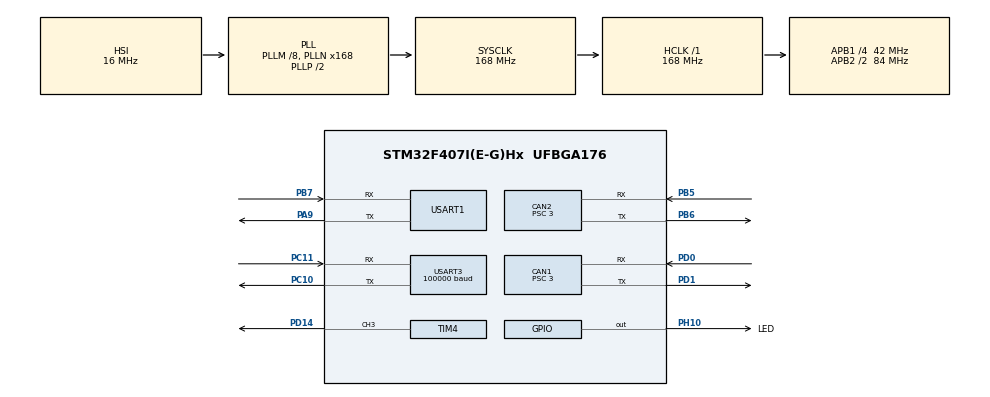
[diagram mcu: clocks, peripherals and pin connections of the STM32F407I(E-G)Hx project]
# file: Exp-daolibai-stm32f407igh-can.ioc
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CAN1.ABOM=ENABLE
CAN1.BS1=CAN_BS1_9TQ
CAN1.BS2=CAN_BS2_4TQ
CAN1.CalculateBaudRate=1000000
CAN1.CalculateTimeBit=1000
CAN1.CalculateTimeQuantum=71.42857142857143
CAN1.Prescaler=3
CAN2.ABOM=ENABLE
CAN2.BS1=CAN_BS1_9TQ
CAN2.BS2=CAN_BS2_4TQ
CAN2.CalculateBaudRate=1000000
CAN2.CalculateTimeBit=1000
CAN2.CalculateTimeQuantum=71.42857142857143
CAN2.Prescaler=3
Dma.Request0=USART3_RX
Dma.Request1=USART1_RX
Dma.Request2=USART1_TX
Dma.USART1_RX.1.Direction=DMA_PERIPH_TO_MEMORY
Dma.USART1_RX.1.FIFOMode=DMA_FIFOMODE_DISABLE
Dma.USART1_RX.1.Instance=DMA2_Stream2
Dma.USART1_RX.1.MemDataAlignment=DMA_MDATAALIGN_BYTE
Dma.USART1_RX.1.MemInc=DMA_MINC_ENABLE
Dma.USART1_RX.1.Mode=DMA_NORMAL
Dma.USART1_RX.1.PeriphDataAlignment=DMA_PDATAALIGN_BYTE
Dma.USART1_RX.1.PeriphInc=DMA_PINC_DISABLE
Dma.USART1_RX.1.Priority=DMA_PRIORITY_LOW
Dma.USART1_TX.2.Direction=DMA_MEMORY_TO_PERIPH
Dma.USART1_TX.2.FIFOMode=DMA_FIFOMODE_DISABLE
Dma.USART1_TX.2.Instance=DMA2_Stream7
Dma.USART1_TX.2.MemDataAlignment=DMA_MDATAALIGN_BYTE
Dma.USART1_TX.2.MemInc=DMA_MINC_ENABLE
Dma.USART1_TX.2.Mode=DMA_NORMAL
Dma.USART1_TX.2.PeriphDataAlignment=DMA_PDATAALIGN_BYTE
Dma.USART1_TX.2.PeriphInc=DMA_PINC_DISABLE
Dma.USART1_TX.2.Priority=DMA_PRIORITY_LOW
Dma.USART3_RX.0.Direction=DMA_PERIPH_TO_MEMORY
Dma.USART3_RX.0.FIFOMode=DMA_FIFOMODE_DISABLE
Dma.USART3_RX.0.Instance=DMA1_Stream1
Dma.USART3_RX.0.MemDataAlignment=DMA_MDATAALIGN_BYTE
Dma.USART3_RX.0.MemInc=DMA_MINC_ENABLE
Dma.USART3_RX.0.Mode=DMA_CIRCULAR
Dma.USART3_RX.0.PeriphDataAlignment=DMA_PDATAALIGN_BYTE
Dma.USART3_RX.0.PeriphInc=DMA_PINC_DISABLE
Dma.USART3_RX.0.Priority=DMA_PRIORITY_LOW
FREERTOS.Tasks01=ChassisTask,24,512,StartChassisTask,Default,NULL,Dynamic,NULL,NULL;DaemonTask,8,512,StartDaemonTask,Default,NULL,Dynamic,NULL,NULL
FREERTOS.configUSE_NEWLIB_REENTRANT=1
Mcu.Family=STM32F4
Mcu.Name=STM32F407I(E-G)Hx
Mcu.Package=UFBGA176
NVIC.CAN1_RX0_IRQn=true\:5\:0\:false\:false\:true\:true\:true\:true\:true
NVIC.CAN1_TX_IRQn=true\:5\:0\:false\:false\:true\:true\:true\:true\:true
NVIC.CAN2_RX0_IRQn=true\:5\:0\:false\:false\:true\:true\:true\:true\:true
NVIC.CAN2_TX_IRQn=true\:5\:0\:false\:false\:true\:true\:true\:true\:true
NVIC.DMA1_Stream1_IRQn=true\:5\:0\:false\:false\:true\:true\:false\:true\:true
NVIC.DMA2_Stream2_IRQn=true\:5\:0\:false\:false\:true\:true\:false\:true\:true
NVIC.DMA2_Stream7_IRQn=true\:5\:0\:false\:false\:true\:true\:false\:true\:true
NVIC.PriorityGroup=NVIC_PRIORITYGROUP_4
NVIC.TIM8_TRG_COM_TIM14_IRQn=true\:15\:0\:false\:false\:true\:false\:false\:true\:true
NVIC.TimeBase=TIM8_TRG_COM_TIM14_IRQn
NVIC.TimeBaseIP=TIM14
NVIC.USART1_IRQn=true\:5\:0\:false\:false\:true\:true\:true\:true\:true
NVIC.USART3_IRQn=true\:5\:0\:false\:false\:true\:true\:true\:true\:true
PA13.Mode=Serial_Wire
PA13.Signal=SYS_JTMS-SWDIO
PA14.Mode=Serial_Wire
PA14.Signal=SYS_JTCK-SWCLK
PA9.Mode=Asynchronous
PA9.Signal=USART1_TX
PB5.Mode=CAN_Activate
PB5.Signal=CAN2_RX
PB6.Mode=CAN_Activate
PB6.Signal=CAN2_TX
PB7.Mode=Asynchronous
PB7.Signal=USART1_RX
PC10.Mode=Asynchronous
PC10.Signal=USART3_TX
PC11.Mode=Asynchronous
PC11.Signal=USART3_RX
PC14-OSC32_IN.Mode=LSE-External-Oscillator
PC14-OSC32_IN.Signal=RCC_OSC32_IN
PC15-OSC32_OUT.Mode=LSE-External-Oscillator
PC15-OSC32_OUT.Signal=RCC_OSC32_OUT
PD0.Mode=CAN_Activate
PD0.Signal=CAN1_RX
PD1.Mode=CAN_Activate
PD1.Signal=CAN1_TX
PD14.Signal=S_TIM4_CH3
PH0-OSC_IN.Mode=HSE-External-Oscillator
PH0-OSC_IN.Signal=RCC_OSC_IN
PH1-OSC_OUT.Mode=HSE-External-Oscillator
PH1-OSC_OUT.Signal=RCC_OSC_OUT
PH10.GPIO_Label=LED
PH10.PinState=GPIO_PIN_SET
PH10.Signal=GPIO_Output
ProjectManager.HeapSize=0x200
ProjectManager.StackSize=0x400
ProjectManager.TargetToolchain=STM32CubeIDE
RCC.48MHZClocksFreq_Value=84000000
RCC.AHBFreq_Value=168000000
RCC.APB1CLKDivider=RCC_HCLK_DIV4
RCC.APB1Freq_Value=42000000
RCC.APB1TimFreq_Value=84000000
RCC.APB2CLKDivider=RCC_HCLK_DIV2
RCC.APB2Freq_Value=84000000
RCC.APB2TimFreq_Value=168000000
RCC.CortexFreq_Value=168000000
RCC.HCLKFreq_Value=168000000
RCC.HSE_VALUE=12000000
RCC.HSI_VALUE=16000000
RCC.PLLM=8
RCC.PLLN=168
RCC.SYSCLKFreq_VALUE=168000000
RCC.SYSCLKSource=RCC_SYSCLKSOURCE_PLLCLK
RCC.VCOOutputFreq_Value=336000000
SH.S_TIM4_CH3.0=TIM4_CH3,PWM Generation3 CH3
TIM4.AutoReloadPreload=TIM_AUTORELOAD_PRELOAD_ENABLE
TIM4.Channel-PWM\ Generation3\ CH3=TIM_CHANNEL_3
TIM4.Period=21000
TIM4.Pulse-PWM\ Generation3\ CH3=10500
USART1.VirtualMode=VM_ASYNC
USART3.BaudRate=100000
USART3.Parity=PARITY_EVEN
USART3.VirtualMode=VM_ASYNC
USART3.WordLength=WORDLENGTH_9B
VP_FREERTOS_VS_CMSIS_V2.Mode=CMSIS_V2
VP_SYS_VS_tim14.Mode=TIM14
VP_TIM4_VS_ClockSourceINT.Mode=Internal
board=custom

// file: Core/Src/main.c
/* USER CODE BEGIN Header */

/* USER CODE END Header */
#include "main.h"
#include "cmsis_os.h"
#include "can.h"
#include "dma.h"
#include "tim.h"
#include "usart.h"
#include "gpio.h"

/* USER CODE BEGIN Includes */
#include "bsp_can.h"
#include "pid.h"

#include "DBUScontrol.h"

/* USER CODE END Includes */

/* USER CODE BEGIN PV */

//uint32_t count;
/* USER CODE END PV */

void SystemClock_Config(void);
void MX_FREERTOS_Init(void);

/* USER CODE BEGIN 0 */

extern rc_info_t rc;
extern uint8_t dbus_buf;
PID_TypeDef motor_pid[8];

/* USER CODE END 0 */

int main(void)
{

  /* USER CODE BEGIN 1 */
//	const uint8_t SendBuffer[4]={0x03,0xFC,0xFC,0x03};  // 帧头
  /* USER CODE END 1 */

  /* MCU Configuration--------------------------------------------------------*/

  /* Reset of all peripherals, Initializes the Flash interface and the Systick. */
  HAL_Init();

  /* Configure the system clock */
  SystemClock_Config();

  /* Initialize all configured peripherals */
  MX_GPIO_Init();
  MX_DMA_Init();
  MX_CAN1_Init();
  MX_USART1_UART_Init();
  MX_USART3_UART_Init();
  MX_TIM4_Init();
  MX_CAN2_Init();
  /* USER CODE BEGIN 2 */

    dbus_uart_init();//使能遥控器接受函
	HAL_CAN_Start(&hcan1);//使能官方CAN总线通信函数
    HAL_CAN_Start(&hcan2);
	my_can_filter_init_recv_all(&hcan1,CAN_FilterFIFO0,0);//使能自己定义的CAN滤波器函
    my_can_filter_init_recv_all(&hcan2,CAN_FilterFIFO0,14);
	HAL_CAN_ActivateNotification(&hcan1, CAN_IT_RX_FIFO0_MSG_PENDING);//使能官方CAN总线中断函数
    HAL_CAN_ActivateNotification(&hcan2, CAN_IT_RX_FIFO0_MSG_PENDING);

      pid_init(&motor_pid[0]);
      motor_pid[0].f_param_init(&motor_pid[0],PID_Speed,16384,5000,10,0,8000,0,1.5,0,0);
      pid_init(&motor_pid[1]);
      motor_pid[1].f_param_init(&motor_pid[1],PID_Speed,16384,5000,10,0,8000,0,1.5,0,0);
      pid_init(&motor_pid[2]);
      motor_pid[2].f_param_init(&motor_pid[2],PID_Speed,16384,5000,10,0,8000,0,1.5,0,0);
      pid_init(&motor_pid[3]);
      motor_pid[3].f_param_init(&motor_pid[3],PID_Speed,16384,5000,10,0,8000,0,1.5,0,0);
      pid_init(&motor_pid[4]);
      motor_pid[4].f_param_init(&motor_pid[4],PID_Speed,16384,5000,10,0,8000,0,5,0,0);//6020位置环pid
      pid_init(&motor_pid[5]);
      motor_pid[5].f_param_init(&motor_pid[5],PID_Speed,16384,5000,10,0,8000,0,15,0,0);//6020速度环pid
      pid_init(&motor_pid[6]);
      motor_pid[6].f_param_init(&motor_pid[6],PID_Speed,16384,5000,10,0,8000,0,1.5,0,0);//上供弹2006电机pid
      pid_init(&motor_pid[7]);
      motor_pid[7].f_param_init(&motor_pid[7],PID_Speed,16384,5000,10,0,8000,0,1.5,0,0);

//1.5  0.5
//30

    //for(int j=4;j<=7;j++) //这样即为对组别为4 5 6 7的电机初始化位置环，以此类推
    //{
    //
    //  pid_init(&motor_pid[j]);
    //  motor_pid[i].f_param_init(&motor_pid[0],PID_Position,16384,5000,10,0,8000,0,1.5,0.05,0);
    //)
    //

  /* USER CODE END 2 */

  /* Init scheduler */
  osKernelInitialize();

  /* Call init function for freertos objects (in cmsis_os2.c) */
  MX_FREERTOS_Init();

  /* Start scheduler */
  osKernelStart();

  /* We should never get here as control is now taken by the scheduler */

  /* Infinite loop */
  while (1)
  {

  }
}

void SystemClock_Config(void)
{
  RCC_OscInitTypeDef RCC_OscInitStruct = {0};
  RCC_ClkInitTypeDef RCC_ClkInitStruct = {0};

  /** Configure the main internal regulator output voltage
  */
  __HAL_RCC_PWR_CLK_ENABLE();
  __HAL_PWR_VOLTAGESCALING_CONFIG(PWR_REGULATOR_VOLTAGE_SCALE1);

  /** Initializes the RCC Oscillators according to the specified parameters
  * in the RCC_OscInitTypeDef structure.
  */
  RCC_OscInitStruct.OscillatorType = RCC_OSCILLATORTYPE_HSI;
  RCC_OscInitStruct.HSIState = RCC_HSI_ON;
  RCC_OscInitStruct.HSICalibrationValue = RCC_HSICALIBRATION_DEFAULT;
  RCC_OscInitStruct.PLL.PLLState = RCC_PLL_ON;
  RCC_OscInitStruct.PLL.PLLSource = RCC_PLLSOURCE_HSI;
  RCC_OscInitStruct.PLL.PLLM = 8;
  RCC_OscInitStruct.PLL.PLLN = 168;
  RCC_OscInitStruct.PLL.PLLP = RCC_PLLP_DIV2;
  RCC_OscInitStruct.PLL.PLLQ = 4;
  if (HAL_RCC_OscConfig(&RCC_OscInitStruct) != HAL_OK)
  {
    Error_Handler();
  }

  /** Initializes the CPU, AHB and APB buses clocks
  */
  RCC_ClkInitStruct.ClockType = RCC_CLOCKTYPE_HCLK|RCC_CLOCKTYPE_SYSCLK
                              |RCC_CLOCKTYPE_PCLK1|RCC_CLOCKTYPE_PCLK2;
  RCC_ClkInitStruct.SYSCLKSource = RCC_SYSCLKSOURCE_PLLCLK;
  RCC_ClkInitStruct.AHBCLKDivider = RCC_SYSCLK_DIV1;
  RCC_ClkInitStruct.APB1CLKDivider = RCC_HCLK_DIV4;
  RCC_ClkInitStruct.APB2CLKDivider = RCC_HCLK_DIV2;

  if (HAL_RCC_ClockConfig(&RCC_ClkInitStruct, FLASH_LATENCY_5) != HAL_OK)
  {
    Error_Handler();
  }
}

void HAL_TIM_PeriodElapsedCallback(TIM_HandleTypeDef *htim)
{
  if (htim->Instance == TIM14) {
    HAL_IncTick();
  }
}

void Error_Handler(void)
{
  __disable_irq();
  while (1)
  {
  }
}

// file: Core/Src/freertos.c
/* USER CODE BEGIN Header */
/**
  ******************************************************************************
  * File Name          : freertos.c
  * Description        : Code for freertos applications
  ******************************************************************************
  * @attention
  *
  * Copyright (c) 2024 STMicroelectronics.
  * All rights reserved.
  *
  * This software is licensed under terms that can be found in the LICENSE file
  * in the root directory of this software component.
  * If no LICENSE file comes with this software, it is provided AS-IS.
  *
  ******************************************************************************
  */
/* USER CODE END Header */

#include "FreeRTOS.h"
#include "task.h"
#include "main.h"
#include "cmsis_os.h"

/* USER CODE BEGIN Includes */
#include "chassis.h"
#include "Daemon.h"

/* USER CODE END Includes */

/* Definitions for ChassisTask */
osThreadId_t ChassisTaskHandle;
const osThreadAttr_t ChassisTask_attributes = {
  .name = "ChassisTask",
  .stack_size = 512 * 4,
  .priority = (osPriority_t) osPriorityNormal,
};
/* Definitions for DaemonTask */
osThreadId_t DaemonTaskHandle;
const osThreadAttr_t DaemonTask_attributes = {
  .name = "DaemonTask",
  .stack_size = 512 * 4,
  .priority = (osPriority_t) osPriorityLow,
};

void StartChassisTask(void *argument);
void StartDaemonTask(void *argument);

void MX_FREERTOS_Init(void); /* (MISRA C 2004 rule 8.1) */

void MX_FREERTOS_Init(void) {

  /* Create the thread(s) */
  /* creation of ChassisTask */
  ChassisTaskHandle = osThreadNew(StartChassisTask, NULL, &ChassisTask_attributes);

  /* creation of DaemonTask */
  DaemonTaskHandle = osThreadNew(StartDaemonTask, NULL, &DaemonTask_attributes);

}

void StartChassisTask(void *argument)
{
  /* USER CODE BEGIN StartChassisTask */
    chassis_init();
  /* Infinite loop */
  for(;;)
  {
      chassis_ctrl();//freertos中的�??有进程都只引出函数使用，增加代码可读�??
    osDelay(1);
  }
  /* USER CODE END StartChassisTask */
}

void StartDaemonTask(void *argument)
{
  /* USER CODE BEGIN StartDaemonTask */
  /* Infinite loop */
  for(;;)
  {
//      daemon_task();
    osDelay(1);
  }
  /* USER CODE END StartDaemonTask */
}
